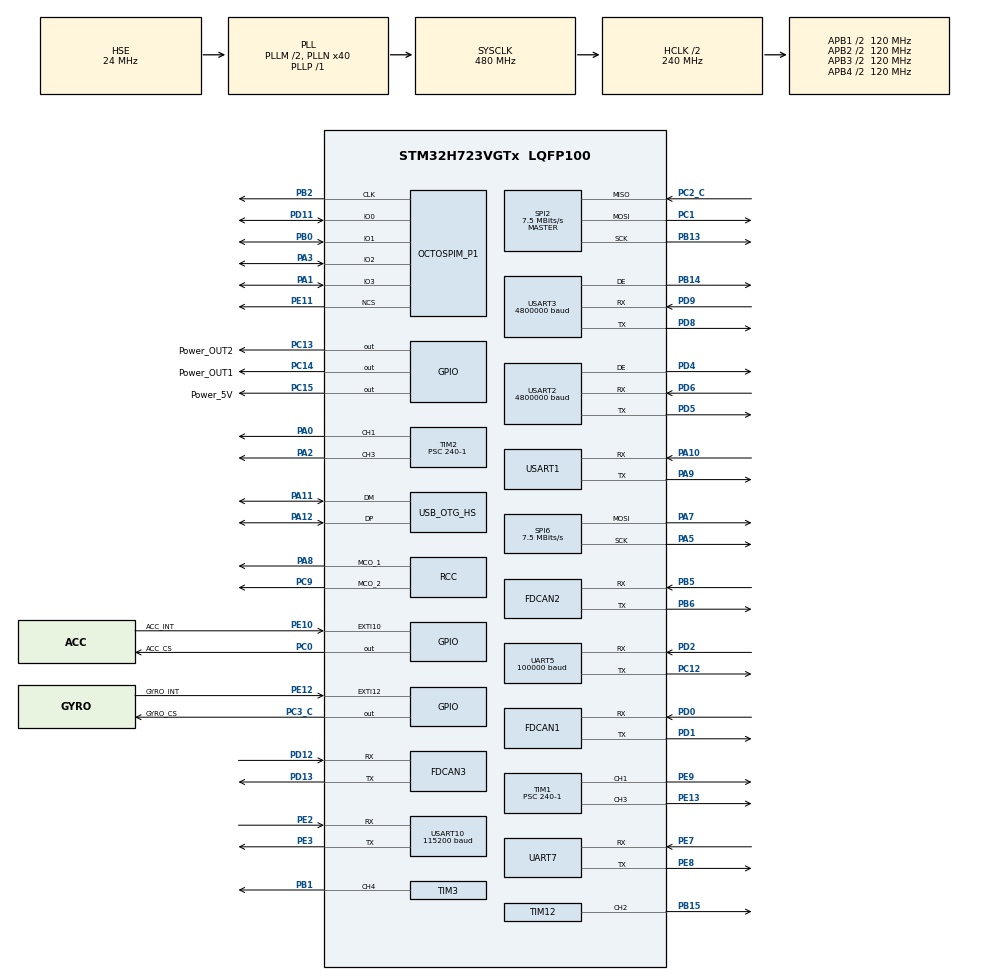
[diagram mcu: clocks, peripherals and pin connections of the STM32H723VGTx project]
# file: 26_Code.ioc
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CORTEX_M7.AccessPermission-Cortex_Memory_Protection_Unit_Region0_Settings=MPU_REGION_PRIV_RO
CORTEX_M7.AccessPermission-Cortex_Memory_Protection_Unit_Region1_Settings=MPU_REGION_FULL_ACCESS
CORTEX_M7.BaseAddress-Cortex_Memory_Protection_Unit_Region0_Settings=0x08000000
CORTEX_M7.BaseAddress-Cortex_Memory_Protection_Unit_Region1_Settings=0x20000000
CORTEX_M7.Enable-Cortex_Memory_Protection_Unit_Region0_Settings=MPU_REGION_ENABLE
CORTEX_M7.Enable-Cortex_Memory_Protection_Unit_Region1_Settings=MPU_REGION_ENABLE
CORTEX_M7.IsCacheable-Cortex_Memory_Protection_Unit_Region0_Settings=MPU_ACCESS_CACHEABLE
CORTEX_M7.MPU_Control=MPU_PRIVILEGED_DEFAULT
CORTEX_M7.Number-Cortex_Memory_Protection_Unit_Region1_Settings=MPU_REGION_NUMBER1
CORTEX_M7.Number-Cortex_Memory_Protection_Unit_Region2_Settings=MPU_REGION_NUMBER2
CORTEX_M7.Number-Cortex_Memory_Protection_Unit_Region3_Settings=MPU_REGION_NUMBER3
CORTEX_M7.Number-Cortex_Memory_Protection_Unit_Region4_Settings=MPU_REGION_NUMBER4
CORTEX_M7.Size-Cortex_Memory_Protection_Unit_Region0_Settings=MPU_REGION_SIZE_1MB
CORTEX_M7.Size-Cortex_Memory_Protection_Unit_Region1_Settings=MPU_REGION_SIZE_128MB
CORTEX_M7.SubRegionDisable-Cortex_Memory_Protection_Unit_Region1_Settings=0xEE
CORTEX_M7.TypeExtField-Cortex_Memory_Protection_Unit_Region0_Settings=MPU_TEX_LEVEL1
CORTEX_M7.TypeExtField-Cortex_Memory_Protection_Unit_Region1_Settings=MPU_TEX_LEVEL1
Dma.Request0=SPI2_RX
Dma.Request1=SPI2_TX
Dma.Request10=USART2_TX
Dma.Request11=USART1_RX
Dma.Request12=USART1_TX
Dma.Request2=UART5_RX
Dma.Request3=UART7_RX
Dma.Request4=UART7_TX
Dma.Request5=USART10_RX
Dma.Request6=USART10_TX
Dma.Request7=USART3_RX
Dma.Request8=USART3_TX
Dma.Request9=USART2_RX
Dma.SPI2_RX.0.Direction=DMA_PERIPH_TO_MEMORY
Dma.SPI2_RX.0.EventEnable=DISABLE
Dma.SPI2_RX.0.FIFOMode=DMA_FIFOMODE_DISABLE
Dma.SPI2_RX.0.Instance=DMA1_Stream0
Dma.SPI2_RX.0.MemDataAlignment=DMA_MDATAALIGN_BYTE
Dma.SPI2_RX.0.MemInc=DMA_MINC_ENABLE
Dma.SPI2_RX.0.Mode=DMA_NORMAL
Dma.SPI2_RX.0.PeriphDataAlignment=DMA_PDATAALIGN_BYTE
Dma.SPI2_RX.0.PeriphInc=DMA_PINC_DISABLE
Dma.SPI2_RX.0.Polarity=HAL_DMAMUX_REQ_GEN_RISING
Dma.SPI2_RX.0.Priority=DMA_PRIORITY_VERY_HIGH
Dma.SPI2_RX.0.RequestNumber=1
Dma.SPI2_RX.0.SignalID=NONE
Dma.SPI2_RX.0.SyncEnable=DISABLE
Dma.SPI2_RX.0.SyncPolarity=HAL_DMAMUX_SYNC_NO_EVENT
Dma.SPI2_RX.0.SyncRequestNumber=1
Dma.SPI2_RX.0.SyncSignalID=NONE
Dma.SPI2_TX.1.Direction=DMA_MEMORY_TO_PERIPH
Dma.SPI2_TX.1.EventEnable=DISABLE
Dma.SPI2_TX.1.FIFOMode=DMA_FIFOMODE_DISABLE
Dma.SPI2_TX.1.Instance=DMA1_Stream1
Dma.SPI2_TX.1.MemDataAlignment=DMA_MDATAALIGN_BYTE
Dma.SPI2_TX.1.MemInc=DMA_MINC_ENABLE
Dma.SPI2_TX.1.Mode=DMA_NORMAL
Dma.SPI2_TX.1.PeriphDataAlignment=DMA_PDATAALIGN_BYTE
Dma.SPI2_TX.1.PeriphInc=DMA_PINC_DISABLE
Dma.SPI2_TX.1.Polarity=HAL_DMAMUX_REQ_GEN_RISING
Dma.SPI2_TX.1.Priority=DMA_PRIORITY_VERY_HIGH
Dma.SPI2_TX.1.RequestNumber=1
Dma.SPI2_TX.1.SignalID=NONE
Dma.SPI2_TX.1.SyncEnable=DISABLE
Dma.SPI2_TX.1.SyncPolarity=HAL_DMAMUX_SYNC_NO_EVENT
Dma.SPI2_TX.1.SyncRequestNumber=1
Dma.SPI2_TX.1.SyncSignalID=NONE
Dma.UART5_RX.2.Direction=DMA_PERIPH_TO_MEMORY
Dma.UART5_RX.2.EventEnable=DISABLE
Dma.UART5_RX.2.FIFOMode=DMA_FIFOMODE_DISABLE
Dma.UART5_RX.2.Instance=DMA1_Stream2
Dma.UART5_RX.2.MemDataAlignment=DMA_MDATAALIGN_BYTE
Dma.UART5_RX.2.MemInc=DMA_MINC_ENABLE
Dma.UART5_RX.2.Mode=DMA_NORMAL
Dma.UART5_RX.2.PeriphDataAlignment=DMA_PDATAALIGN_BYTE
Dma.UART5_RX.2.PeriphInc=DMA_PINC_DISABLE
Dma.UART5_RX.2.Polarity=HAL_DMAMUX_REQ_GEN_RISING
Dma.UART5_RX.2.Priority=DMA_PRIORITY_VERY_HIGH
Dma.UART5_RX.2.RequestNumber=1
Dma.UART5_RX.2.SignalID=NONE
Dma.UART5_RX.2.SyncEnable=DISABLE
Dma.UART5_RX.2.SyncPolarity=HAL_DMAMUX_SYNC_NO_EVENT
Dma.UART5_RX.2.SyncRequestNumber=1
Dma.UART5_RX.2.SyncSignalID=NONE
Dma.UART7_RX.3.Direction=DMA_PERIPH_TO_MEMORY
Dma.UART7_RX.3.EventEnable=DISABLE
Dma.UART7_RX.3.FIFOMode=DMA_FIFOMODE_DISABLE
Dma.UART7_RX.3.Instance=DMA1_Stream3
Dma.UART7_RX.3.MemDataAlignment=DMA_MDATAALIGN_BYTE
Dma.UART7_RX.3.MemInc=DMA_MINC_ENABLE
Dma.UART7_RX.3.Mode=DMA_NORMAL
Dma.UART7_RX.3.PeriphDataAlignment=DMA_PDATAALIGN_BYTE
Dma.UART7_RX.3.PeriphInc=DMA_PINC_DISABLE
Dma.UART7_RX.3.Polarity=HAL_DMAMUX_REQ_GEN_RISING
Dma.UART7_RX.3.Priority=DMA_PRIORITY_VERY_HIGH
Dma.UART7_RX.3.RequestNumber=1
Dma.UART7_RX.3.SignalID=NONE
Dma.UART7_RX.3.SyncEnable=DISABLE
Dma.UART7_RX.3.SyncPolarity=HAL_DMAMUX_SYNC_NO_EVENT
Dma.UART7_RX.3.SyncRequestNumber=1
Dma.UART7_RX.3.SyncSignalID=NONE
Dma.UART7_TX.4.Direction=DMA_MEMORY_TO_PERIPH
Dma.UART7_TX.4.EventEnable=DISABLE
Dma.UART7_TX.4.FIFOMode=DMA_FIFOMODE_DISABLE
Dma.UART7_TX.4.Instance=DMA1_Stream4
Dma.UART7_TX.4.MemDataAlignment=DMA_MDATAALIGN_BYTE
Dma.UART7_TX.4.MemInc=DMA_MINC_ENABLE
Dma.UART7_TX.4.Mode=DMA_NORMAL
Dma.UART7_TX.4.PeriphDataAlignment=DMA_PDATAALIGN_BYTE
Dma.UART7_TX.4.PeriphInc=DMA_PINC_DISABLE
Dma.UART7_TX.4.Polarity=HAL_DMAMUX_REQ_GEN_RISING
Dma.UART7_TX.4.Priority=DMA_PRIORITY_VERY_HIGH
Dma.UART7_TX.4.RequestNumber=1
Dma.UART7_TX.4.SignalID=NONE
Dma.UART7_TX.4.SyncEnable=DISABLE
Dma.UART7_TX.4.SyncPolarity=HAL_DMAMUX_SYNC_NO_EVENT
Dma.UART7_TX.4.SyncRequestNumber=1
Dma.UART7_TX.4.SyncSignalID=NONE
Dma.USART10_RX.5.Direction=DMA_PERIPH_TO_MEMORY
Dma.USART10_RX.5.EventEnable=DISABLE
Dma.USART10_RX.5.FIFOMode=DMA_FIFOMODE_DISABLE
Dma.USART10_RX.5.Instance=DMA1_Stream5
Dma.USART10_RX.5.MemDataAlignment=DMA_MDATAALIGN_BYTE
Dma.USART10_RX.5.MemInc=DMA_MINC_ENABLE
Dma.USART10_RX.5.Mode=DMA_NORMAL
Dma.USART10_RX.5.PeriphDataAlignment=DMA_PDATAALIGN_BYTE
Dma.USART10_RX.5.PeriphInc=DMA_PINC_DISABLE
Dma.USART10_RX.5.Polarity=HAL_DMAMUX_REQ_GEN_RISING
Dma.USART10_RX.5.Priority=DMA_PRIORITY_VERY_HIGH
Dma.USART10_RX.5.RequestNumber=1
Dma.USART10_RX.5.SignalID=NONE
Dma.USART10_RX.5.SyncEnable=DISABLE
Dma.USART10_RX.5.SyncPolarity=HAL_DMAMUX_SYNC_NO_EVENT
Dma.USART10_RX.5.SyncRequestNumber=1
Dma.USART10_RX.5.SyncSignalID=NONE
Dma.USART10_TX.6.Direction=DMA_MEMORY_TO_PERIPH
Dma.USART10_TX.6.EventEnable=DISABLE
Dma.USART10_TX.6.FIFOMode=DMA_FIFOMODE_DISABLE
Dma.USART10_TX.6.Instance=DMA1_Stream6
Dma.USART10_TX.6.MemDataAlignment=DMA_MDATAALIGN_BYTE
Dma.USART10_TX.6.MemInc=DMA_MINC_ENABLE
Dma.USART10_TX.6.Mode=DMA_NORMAL
Dma.USART10_TX.6.PeriphDataAlignment=DMA_PDATAALIGN_BYTE
Dma.USART10_TX.6.PeriphInc=DMA_PINC_DISABLE
Dma.USART10_TX.6.Polarity=HAL_DMAMUX_REQ_GEN_RISING
Dma.USART10_TX.6.Priority=DMA_PRIORITY_VERY_HIGH
Dma.USART10_TX.6.RequestNumber=1
Dma.USART10_TX.6.SignalID=NONE
Dma.USART10_TX.6.SyncEnable=DISABLE
Dma.USART10_TX.6.SyncPolarity=HAL_DMAMUX_SYNC_NO_EVENT
Dma.USART10_TX.6.SyncRequestNumber=1
Dma.USART10_TX.6.SyncSignalID=NONE
Dma.USART1_RX.11.Direction=DMA_PERIPH_TO_MEMORY
Dma.USART1_RX.11.EventEnable=DISABLE
Dma.USART1_RX.11.FIFOMode=DMA_FIFOMODE_DISABLE
Dma.USART1_RX.11.Instance=DMA2_Stream3
Dma.USART1_RX.11.MemDataAlignment=DMA_MDATAALIGN_BYTE
Dma.USART1_RX.11.MemInc=DMA_MINC_ENABLE
Dma.USART1_RX.11.Mode=DMA_NORMAL
Dma.USART1_RX.11.PeriphDataAlignment=DMA_PDATAALIGN_BYTE
Dma.USART1_RX.11.PeriphInc=DMA_PINC_DISABLE
Dma.USART1_RX.11.Polarity=HAL_DMAMUX_REQ_GEN_RISING
Dma.USART1_RX.11.Priority=DMA_PRIORITY_LOW
Dma.USART1_RX.11.RequestNumber=1
Dma.USART1_RX.11.SignalID=NONE
Dma.USART1_RX.11.SyncEnable=DISABLE
Dma.USART1_RX.11.SyncPolarity=HAL_DMAMUX_SYNC_NO_EVENT
Dma.USART1_RX.11.SyncRequestNumber=1
Dma.USART1_RX.11.SyncSignalID=NONE
Dma.USART1_TX.12.Direction=DMA_MEMORY_TO_PERIPH
Dma.USART1_TX.12.EventEnable=DISABLE
Dma.USART1_TX.12.FIFOMode=DMA_FIFOMODE_DISABLE
Dma.USART1_TX.12.Instance=DMA2_Stream4
Dma.USART1_TX.12.MemDataAlignment=DMA_MDATAALIGN_BYTE
Dma.USART1_TX.12.MemInc=DMA_MINC_ENABLE
Dma.USART1_TX.12.Mode=DMA_NORMAL
Dma.USART1_TX.12.PeriphDataAlignment=DMA_PDATAALIGN_BYTE
Dma.USART1_TX.12.PeriphInc=DMA_PINC_DISABLE
Dma.USART1_TX.12.Polarity=HAL_DMAMUX_REQ_GEN_RISING
Dma.USART1_TX.12.Priority=DMA_PRIORITY_LOW
Dma.USART1_TX.12.RequestNumber=1
Dma.USART1_TX.12.SignalID=NONE
Dma.USART1_TX.12.SyncEnable=DISABLE
Dma.USART1_TX.12.SyncPolarity=HAL_DMAMUX_SYNC_NO_EVENT
Dma.USART1_TX.12.SyncRequestNumber=1
Dma.USART1_TX.12.SyncSignalID=NONE
Dma.USART2_RX.9.Direction=DMA_PERIPH_TO_MEMORY
Dma.USART2_RX.9.EventEnable=DISABLE
Dma.USART2_RX.9.FIFOMode=DMA_FIFOMODE_DISABLE
Dma.USART2_RX.9.Instance=DMA2_Stream1
Dma.USART2_RX.9.MemDataAlignment=DMA_MDATAALIGN_BYTE
Dma.USART2_RX.9.MemInc=DMA_MINC_ENABLE
Dma.USART2_RX.9.Mode=DMA_NORMAL
Dma.USART2_RX.9.PeriphDataAlignment=DMA_PDATAALIGN_BYTE
Dma.USART2_RX.9.PeriphInc=DMA_PINC_DISABLE
Dma.USART2_RX.9.Polarity=HAL_DMAMUX_REQ_GEN_RISING
Dma.USART2_RX.9.Priority=DMA_PRIORITY_VERY_HIGH
Dma.USART2_RX.9.RequestNumber=1
Dma.USART2_RX.9.SignalID=NONE
Dma.USART2_RX.9.SyncEnable=DISABLE
Dma.USART2_RX.9.SyncPolarity=HAL_DMAMUX_SYNC_NO_EVENT
Dma.USART2_RX.9.SyncRequestNumber=1
Dma.USART2_RX.9.SyncSignalID=NONE
Dma.USART2_TX.10.Direction=DMA_MEMORY_TO_PERIPH
Dma.USART2_TX.10.EventEnable=DISABLE
Dma.USART2_TX.10.FIFOMode=DMA_FIFOMODE_DISABLE
Dma.USART2_TX.10.Instance=DMA2_Stream2
Dma.USART2_TX.10.MemDataAlignment=DMA_MDATAALIGN_BYTE
Dma.USART2_TX.10.MemInc=DMA_MINC_ENABLE
Dma.USART2_TX.10.Mode=DMA_NORMAL
Dma.USART2_TX.10.PeriphDataAlignment=DMA_PDATAALIGN_BYTE
Dma.USART2_TX.10.PeriphInc=DMA_PINC_DISABLE
Dma.USART2_TX.10.Polarity=HAL_DMAMUX_REQ_GEN_RISING
Dma.USART2_TX.10.Priority=DMA_PRIORITY_VERY_HIGH
Dma.USART2_TX.10.RequestNumber=1
Dma.USART2_TX.10.SignalID=NONE
Dma.USART2_TX.10.SyncEnable=DISABLE
Dma.USART2_TX.10.SyncPolarity=HAL_DMAMUX_SYNC_NO_EVENT
Dma.USART2_TX.10.SyncRequestNumber=1
Dma.USART2_TX.10.SyncSignalID=NONE
Dma.USART3_RX.7.Direction=DMA_PERIPH_TO_MEMORY
Dma.USART3_RX.7.EventEnable=DISABLE
Dma.USART3_RX.7.FIFOMode=DMA_FIFOMODE_DISABLE
Dma.USART3_RX.7.Instance=DMA1_Stream7
Dma.USART3_RX.7.MemDataAlignment=DMA_MDATAALIGN_BYTE
Dma.USART3_RX.7.MemInc=DMA_MINC_ENABLE
Dma.USART3_RX.7.Mode=DMA_NORMAL
Dma.USART3_RX.7.PeriphDataAlignment=DMA_PDATAALIGN_BYTE
Dma.USART3_RX.7.PeriphInc=DMA_PINC_DISABLE
Dma.USART3_RX.7.Polarity=HAL_DMAMUX_REQ_GEN_RISING
Dma.USART3_RX.7.Priority=DMA_PRIORITY_VERY_HIGH
Dma.USART3_RX.7.RequestNumber=1
Dma.USART3_RX.7.SignalID=NONE
Dma.USART3_RX.7.SyncEnable=DISABLE
Dma.USART3_RX.7.SyncPolarity=HAL_DMAMUX_SYNC_NO_EVENT
Dma.USART3_RX.7.SyncRequestNumber=1
Dma.USART3_RX.7.SyncSignalID=NONE
Dma.USART3_TX.8.Direction=DMA_MEMORY_TO_PERIPH
Dma.USART3_TX.8.EventEnable=DISABLE
Dma.USART3_TX.8.FIFOMode=DMA_FIFOMODE_DISABLE
Dma.USART3_TX.8.Instance=DMA2_Stream0
Dma.USART3_TX.8.MemDataAlignment=DMA_MDATAALIGN_BYTE
Dma.USART3_TX.8.MemInc=DMA_MINC_ENABLE
Dma.USART3_TX.8.Mode=DMA_NORMAL
Dma.USART3_TX.8.PeriphDataAlignment=DMA_PDATAALIGN_BYTE
Dma.USART3_TX.8.PeriphInc=DMA_PINC_DISABLE
Dma.USART3_TX.8.Polarity=HAL_DMAMUX_REQ_GEN_RISING
Dma.USART3_TX.8.Priority=DMA_PRIORITY_VERY_HIGH
Dma.USART3_TX.8.RequestNumber=1
Dma.USART3_TX.8.SignalID=NONE
Dma.USART3_TX.8.SyncEnable=DISABLE
Dma.USART3_TX.8.SyncPolarity=HAL_DMAMUX_SYNC_NO_EVENT
Dma.USART3_TX.8.SyncRequestNumber=1
Dma.USART3_TX.8.SyncSignalID=NONE
FDCAN1.AutoRetransmission=DISABLE
FDCAN1.CalculateBaudRateNominal=1000000
FDCAN1.CalculateTimeBitNominal=1000
FDCAN1.CalculateTimeQuantumNominal=25.0
FDCAN1.DataPrescaler=3
FDCAN1.DataSyncJumpWidth=10
FDCAN1.DataTimeSeg1=29
FDCAN1.DataTimeSeg2=10
FDCAN1.NominalPrescaler=3
FDCAN1.NominalSyncJumpWidth=10
FDCAN1.NominalTimeSeg1=29
FDCAN1.NominalTimeSeg2=10
FDCAN1.RxFifo0ElmtsNbr=4
FDCAN1.StdFiltersNbr=1
FDCAN1.TxFifoQueueElmtsNbr=32
FDCAN2.AutoRetransmission=DISABLE
FDCAN2.CalculateBaudRateNominal=1000000
FDCAN2.CalculateTimeBitNominal=1000
FDCAN2.CalculateTimeQuantumNominal=25.0
FDCAN2.DataPrescaler=3
FDCAN2.DataSyncJumpWidth=10
FDCAN2.DataTimeSeg1=29
FDCAN2.DataTimeSeg2=10
FDCAN2.MessageRAMOffset=0x406
FDCAN2.NominalPrescaler=3
FDCAN2.NominalSyncJumpWidth=10
FDCAN2.NominalTimeSeg1=29
FDCAN2.NominalTimeSeg2=10
FDCAN2.RxFifo0ElmtsNbr=4
FDCAN2.StdFiltersNbr=1
FDCAN2.TxFifoQueueElmtsNbr=32
FDCAN3.AutoRetransmission=DISABLE
FDCAN3.CalculateBaudRateNominal=1000000
FDCAN3.CalculateTimeBitNominal=1000
FDCAN3.CalculateTimeQuantumNominal=25.0
FDCAN3.DataPrescaler=3
FDCAN3.DataSyncJumpWidth=10
FDCAN3.DataTimeSeg1=29
FDCAN3.DataTimeSeg2=10
FDCAN3.MessageRAMOffset=0x812
FDCAN3.NominalPrescaler=3
FDCAN3.NominalSyncJumpWidth=10
FDCAN3.NominalTimeSeg1=29
FDCAN3.NominalTimeSeg2=10
FDCAN3.RxFifo0ElmtsNbr=4
FDCAN3.StdFiltersNbr=1
FDCAN3.TxFifoQueueElmtsNbr=32
FREERTOS.Tasks01=Remote_control,24,512,Remote_control_Task,Default,NULL,Dynamic,NULL,NULL;Gimbal,8,512,Gimbal_Task,Default,NULL,Dynamic,NULL,NULL;Chassis,8,1024,Chassis_Task,Default,NULL,Dynamic,NULL,NULL;Motor_control,8,256,Motor_control_Task,Default,NULL,Dynamic,NULL,NULL;Shoot,8,256,Shoot_Task,Default,NULL,Dynamic,NULL,NULL;Referee,8,512,Referee_Task,Default,NULL,Dynamic,NULL,NULL;Log_and_debug,8,256,Log_and_debug_Task,Default,NULL,Dynamic,NULL,NULL
FREERTOS.configENABLE_FPU=1
FREERTOS.configUSE_IDLE_HOOK=1
Mcu.Family=STM32H7
Mcu.Name=STM32H723VGTx
Mcu.Package=LQFP100
NVIC.DMA1_Stream0_IRQn=true\:5\:0\:false\:false\:true\:true\:false\:true\:true
NVIC.DMA1_Stream1_IRQn=true\:5\:0\:false\:false\:true\:true\:false\:true\:true
NVIC.DMA1_Stream2_IRQn=true\:5\:0\:false\:false\:true\:true\:false\:true\:true
NVIC.DMA1_Stream3_IRQn=true\:5\:0\:true\:false\:true\:true\:false\:true\:true
NVIC.DMA1_Stream4_IRQn=true\:5\:0\:true\:false\:true\:true\:false\:true\:true
NVIC.DMA1_Stream5_IRQn=true\:5\:0\:false\:false\:true\:true\:false\:true\:true
NVIC.DMA1_Stream6_IRQn=true\:5\:0\:false\:false\:true\:true\:false\:true\:true
NVIC.DMA1_Stream7_IRQn=true\:5\:0\:false\:false\:true\:true\:false\:true\:true
NVIC.DMA2_Stream0_IRQn=true\:5\:0\:false\:false\:true\:true\:false\:true\:true
NVIC.DMA2_Stream1_IRQn=true\:5\:0\:false\:false\:true\:true\:false\:true\:true
NVIC.DMA2_Stream2_IRQn=true\:5\:0\:false\:false\:true\:true\:false\:true\:true
NVIC.DMA2_Stream3_IRQn=true\:5\:0\:false\:false\:true\:true\:false\:true\:true
NVIC.DMA2_Stream4_IRQn=true\:5\:0\:false\:false\:true\:true\:false\:true\:true
NVIC.FDCAN1_IT0_IRQn=true\:5\:0\:false\:false\:true\:true\:true\:true\:true
NVIC.FDCAN1_IT1_IRQn=true\:5\:0\:false\:false\:true\:true\:true\:true\:true
NVIC.FDCAN2_IT0_IRQn=true\:5\:0\:false\:false\:true\:true\:true\:true\:true
NVIC.FDCAN2_IT1_IRQn=true\:5\:0\:false\:false\:true\:true\:true\:true\:true
NVIC.FDCAN3_IT0_IRQn=true\:5\:0\:false\:false\:true\:true\:true\:true\:true
NVIC.FDCAN3_IT1_IRQn=true\:5\:0\:false\:false\:true\:true\:true\:true\:true
NVIC.OTG_HS_IRQn=true\:5\:0\:false\:false\:true\:true\:true\:true\:true
NVIC.PriorityGroup=NVIC_PRIORITYGROUP_4
NVIC.SPI2_IRQn=true\:5\:0\:false\:false\:true\:true\:true\:true\:true
NVIC.TIM23_IRQn=true\:15\:0\:true\:false\:true\:false\:false\:true\:true
NVIC.TIM8_BRK_TIM12_IRQn=true\:5\:0\:false\:false\:true\:true\:true\:true\:true
NVIC.TIM8_TRG_COM_TIM14_IRQn=true\:5\:0\:false\:false\:true\:true\:true\:true\:true
NVIC.TIM8_UP_TIM13_IRQn=true\:5\:0\:true\:false\:true\:true\:true\:true\:true
NVIC.TimeBase=TIM23_IRQn
NVIC.TimeBaseIP=TIM23
NVIC.UART5_IRQn=true\:5\:0\:false\:false\:true\:true\:true\:true\:true
NVIC.UART7_IRQn=true\:5\:0\:true\:false\:true\:true\:true\:true\:true
NVIC.USART10_IRQn=true\:5\:0\:false\:false\:true\:true\:true\:true\:true
NVIC.USART1_IRQn=true\:5\:0\:false\:false\:true\:true\:true\:true\:true
NVIC.USART2_IRQn=true\:5\:0\:false\:false\:true\:true\:true\:true\:true
NVIC.USART3_IRQn=true\:5\:0\:false\:false\:true\:true\:true\:true\:true
OCTOSPI2.ClockMode=HAL_OSPI_CLOCK_MODE_3
OCTOSPI2.ClockPrescaler=3
OCTOSPI2.DeviceSize=23
OCTOSPI2.DeviceType=SPI_DEVICE_FLASH
OCTOSPI2.FifoThreshold=8
OCTOSPI2.SampleShifting=HAL_OSPI_SAMPLE_SHIFTING_HALFCYCLE
PA0.Signal=S_TIM2_CH1_ETR
PA1.Mode=OCTOSPI2_IOL_Port1L
PA1.Signal=OCTOSPIM_P1_IO3
PA10.Mode=Asynchronous
PA10.Signal=USART1_RX
PA11.Mode=Device_Only_FS
PA11.Signal=USB_OTG_HS_DM
PA12.Mode=Device_Only_FS
PA12.Signal=USB_OTG_HS_DP
PA13(JTMS/SWDIO).Mode=Serial_Wire
PA13(JTMS/SWDIO).Signal=DEBUG_JTMS-SWDIO
PA14(JTCK/SWCLK).Mode=Serial_Wire
PA14(JTCK/SWCLK).Signal=DEBUG_JTCK-SWCLK
PA2.Signal=S_TIM2_CH3
PA3.Mode=OCTOSPI2_IOL_Port1L
PA3.Signal=OCTOSPIM_P1_IO2
PA5.GPIO_Speed=GPIO_SPEED_FREQ_VERY_HIGH
PA5.Mode=TX_Only_Simplex_Unidirect_Master
PA5.Signal=SPI6_SCK
PA7.Mode=TX_Only_Simplex_Unidirect_Master
PA7.Signal=SPI6_MOSI
PA8.Mode=Clock-out-1
PA8.Signal=RCC_MCO_1
PA9.Mode=Asynchronous
PA9.Signal=USART1_TX
PB0.Mode=OCTOSPI2_IOL_Port1L
PB0.Signal=OCTOSPIM_P1_IO1
PB1.Signal=S_TIM3_CH4
PB13.Mode=Full_Duplex_Master
PB13.Signal=SPI2_SCK
PB14.Mode=Hardware Flow Control (RS485)
PB14.Signal=USART3_DE
PB15.Signal=S_TIM12_CH2
PB2.Mode=O2_P1_CLK
PB2.Signal=OCTOSPIM_P1_CLK
PB5.Mode=FDCAN_Activate
PB5.Signal=FDCAN2_RX
PB6.Mode=FDCAN_Activate
PB6.Signal=FDCAN2_TX
PC0.GPIO_Label=ACC_CS
PC0.GPIO_Speed=GPIO_SPEED_FREQ_VERY_HIGH
PC0.PinState=GPIO_PIN_SET
PC0.Signal=GPIO_Output
PC1.Mode=Full_Duplex_Master
PC1.Signal=SPI2_MOSI
PC12.Mode=Asynchronous
PC12.Signal=UART5_TX
PC13.GPIO_Label=Power_OUT2
PC13.PinState=GPIO_PIN_SET
PC13.Signal=GPIO_Output
PC14-OSC32_IN.GPIO_Label=Power_OUT1
PC14-OSC32_IN.PinState=GPIO_PIN_SET
PC14-OSC32_IN.Signal=GPIO_Output
PC15-OSC32_OUT.GPIO_Label=Power_5V
PC15-OSC32_OUT.Signal=GPIO_Output
PC2_C.Mode=Full_Duplex_Master
PC2_C.Signal=SPI2_MISO
PC3_C.GPIO_Label=GYRO_CS
PC3_C.GPIO_Speed=GPIO_SPEED_FREQ_VERY_HIGH
PC3_C.PinState=GPIO_PIN_SET
PC3_C.Signal=GPIO_Output
PC9.Mode=Clock-out-2
PC9.Signal=RCC_MCO_2
PD0.Mode=FDCAN_Activate
PD0.Signal=FDCAN1_RX
PD1.Mode=FDCAN_Activate
PD1.Signal=FDCAN1_TX
PD11.Mode=OCTOSPI2_IOL_Port1L
PD11.Signal=OCTOSPIM_P1_IO0
PD12.Mode=FDCAN_Activate
PD12.Signal=FDCAN3_RX
PD13.Mode=FDCAN_Activate
PD13.Signal=FDCAN3_TX
PD2.Mode=Asynchronous
PD2.Signal=UART5_RX
PD4.Mode=Hardware Flow Control (RS485)
PD4.Signal=USART2_DE
PD5.Mode=Asynchronous
PD5.Signal=USART2_TX
PD6.Mode=Asynchronous
PD6.Signal=USART2_RX
PD8.Mode=Asynchronous
PD8.Signal=USART3_TX
PD9.Mode=Asynchronous
PD9.Signal=USART3_RX
PE10.GPIO_Label=ACC_INT
PE10.Signal=GPXTI10
PE11.Mode=OCTOSPI2_Port1_NCS
PE11.Signal=OCTOSPIM_P1_NCS
PE12.GPIO_Label=GYRO_INT
PE12.Signal=GPXTI12
PE13.Signal=S_TIM1_CH3
PE2.GPIO_Speed=GPIO_SPEED_FREQ_VERY_HIGH
PE2.Mode=Asynchronous
PE2.Signal=USART10_RX
PE3.GPIO_Speed=GPIO_SPEED_FREQ_VERY_HIGH
PE3.Mode=Asynchronous
PE3.Signal=USART10_TX
PE7.GPIO_Speed=GPIO_SPEED_FREQ_VERY_HIGH
PE7.Mode=Asynchronous
PE7.Signal=UART7_RX
PE8.GPIO_Speed=GPIO_SPEED_FREQ_VERY_HIGH
PE8.Mode=Asynchronous
PE8.Signal=UART7_TX
PE9.Signal=S_TIM1_CH1
PH0-OSC_IN.Mode=HSE-External-Oscillator
PH0-OSC_IN.Signal=RCC_OSC_IN
PH1-OSC_OUT.Mode=HSE-External-Oscillator
PH1-OSC_OUT.Signal=RCC_OSC_OUT
ProjectManager.HeapSize=0x200
ProjectManager.StackSize=0x400
ProjectManager.TargetToolchain=Makefile
RCC.ADCFreq_Value=48375000
RCC.APB1Freq_Value=120000000
RCC.APB2Freq_Value=120000000
RCC.APB3Freq_Value=120000000
RCC.APB4Freq_Value=120000000
RCC.CortexFreq_Value=480000000
RCC.D1PPRE=RCC_APB3_DIV2
RCC.D2PPRE1=RCC_APB1_DIV2
RCC.D2PPRE2=RCC_APB2_DIV2
RCC.D3PPRE=RCC_APB4_DIV2
RCC.DIVM1=2
RCC.DIVN1=40
RCC.DIVP1=1
RCC.DIVQ1=4
RCC.HCLKFreq_Value=240000000
RCC.HPRE=RCC_HCLK_DIV2
RCC.HSE_VALUE=24000000
RCC.PLLFRACN=0
RCC.PLLSourceVirtual=RCC_PLLSOURCE_HSE
RCC.SYSCLKFreq_VALUE=480000000
RCC.SYSCLKSource=RCC_SYSCLKSOURCE_PLLCLK
RCC.USBCLockSelection=RCC_USBCLKSOURCE_HSI48
RCC.USBFreq_Value=48000000
SH.S_TIM12_CH2.0=TIM12_CH2,PWM Generation2 CH2
SH.S_TIM1_CH1.0=TIM1_CH1,PWM Generation1 CH1
SH.S_TIM1_CH3.0=TIM1_CH3,PWM Generation3 CH3
SH.S_TIM2_CH1_ETR.0=TIM2_CH1,PWM Generation1 CH1
SH.S_TIM2_CH3.0=TIM2_CH3,PWM Generation3 CH3
SH.S_TIM3_CH4.0=TIM3_CH4,PWM Generation4 CH4
SPI2.BaudRatePrescaler=SPI_BAUDRATEPRESCALER_16
SPI2.CLKPhase=SPI_PHASE_2EDGE
SPI2.CLKPolarity=SPI_POLARITY_HIGH
SPI2.CalculateBaudRate=7.5 MBits/s
SPI2.DataSize=SPI_DATASIZE_8BIT
SPI2.Direction=SPI_DIRECTION_2LINES
SPI2.Mode=SPI_MODE_MASTER
SPI2.VirtualType=VM_MASTER
SPI6.BaudRatePrescaler=SPI_BAUDRATEPRESCALER_16
SPI6.CLKPhase=SPI_PHASE_2EDGE
SPI6.CLKPolarity=SPI_POLARITY_HIGH
SPI6.CalculateBaudRate=7.5 MBits/s
SPI6.DataSize=SPI_DATASIZE_8BIT
SPI6.Direction=SPI_DIRECTION_2LINES_TXONLY
SPI6.Mode=SPI_MODE_MASTER
SPI6.VirtualType=VM_MASTER
TIM1.Channel-PWM\ Generation1\ CH1=TIM_CHANNEL_1
TIM1.Channel-PWM\ Generation3\ CH3=TIM_CHANNEL_3
TIM1.Period=2000-1
TIM1.Prescaler=240-1
TIM12.Channel-PWM\ Generation2\ CH2=TIM_CHANNEL_2
TIM12.Period=250-1
TIM12.Prescaler=240-1
TIM13.Period=100-1
TIM13.Prescaler=2400-1
TIM14.Period=500-1
TIM14.Prescaler=2400-1
TIM2.Channel-PWM\ Generation1\ CH1=TIM_CHANNEL_1
TIM2.Channel-PWM\ Generation3\ CH3=TIM_CHANNEL_3
TIM2.Period=2000-1
TIM2.Prescaler=240-1
TIM3.Channel-PWM\ Generation4\ CH4=TIM_CHANNEL_4
TIM3.Period=20000-1
TIM3.Prescaler=240-1
UART5.BaudRate=100000
UART5.Parity=PARITY_EVEN
UART5.StopBits=UART_STOPBITS_1
UART5.WordLength=WORDLENGTH_9B
USART1.VirtualMode-Asynchronous=VM_ASYNC
USART10.BaudRate=115200
USART10.VirtualMode=VM_ASYNC
USART2.BaudRate=4800000
USART2.VirtualMode-Asynchronous=VM_ASYNC
USART2.VirtualMode-Hardware\ Flow\ Control\ (RS485)=VM_ASYNC
USART3.BaudRate=4800000
USART3.VirtualMode-Asynchronous=VM_ASYNC
USART3.VirtualMode-Hardware\ Flow\ Control\ (RS485)=VM_ASYNC
USB_DEVICE.CLASS_NAME_HS=CDC
USB_DEVICE.VirtualMode=Cdc
USB_DEVICE.VirtualModeHS=Cdc_HS
USB_OTG_HS.VirtualMode-Device_Only_FS=Device_Only_FS
VP_FREERTOS_VS_CMSIS_V2.Mode=CMSIS_V2
VP_IWDG1_VS_IWDG.Mode=IWDG_Activate
VP_MEMORYMAP_VS_MEMORYMAP.Mode=CurAppReg
VP_OCTOSPI2_VS_quad.Mode=quad_mode
VP_SYS_VS_tim23.Mode=TIM23
VP_TIM12_VS_ClockSourceINT.Mode=Internal
VP_TIM13_VS_ClockSourceINT.Mode=Enable_Timer
VP_TIM14_VS_ClockSourceINT.Mode=Enable_Timer
VP_USB_DEVICE_VS_USB_DEVICE_CDC_HS.Mode=CDC_HS
board=custom

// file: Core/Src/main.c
/* USER CODE BEGIN Header */
/**
  ******************************************************************************
  * @file           : main.c
  * @brief          : Main program body
  ******************************************************************************
  * @attention
  *
  * Copyright (c) 2025 STMicroelectronics.
  * All rights reserved.
  *
  * This software is licensed under terms that can be found in the LICENSE file
  * in the root directory of this software component.
  * If no LICENSE file comes with this software, it is provided AS-IS.
  *
  ******************************************************************************
  */
/* USER CODE END Header */
#include "main.h"
#include "cmsis_os.h"
#include "dma.h"
#include "fdcan.h"
#include "iwdg.h"
#include "octospi.h"
#include "spi.h"
#include "tim.h"
#include "usart.h"
#include "usb_device.h"
#include "gpio.h"

/* USER CODE BEGIN Includes */
#include "UART_data_txrx.h"
#include "CAN_receive_send.h"

#include "motor.h"
#include "supercup.h"
#include "IMU_updata.h"
#include "dm_imu.h"
#include "LED.h"
#include "Power_switch.h"
#include "referee_system.h"

#include "music.h"
#include "Chassis.h"
#include "Gimbal.h"
#include "shoot.h"
#include "Auto_control.h"
#include "Global_status.h"

/* USER CODE END Includes */

/* USER CODE BEGIN PV */
static uint32_t tick_ms=0;
/* USER CODE END PV */

void SystemClock_Config(void);
static void MPU_Config(void);
void MX_FREERTOS_Init(void);

/* USER CODE BEGIN 0 */
HAL_StatusTypeDef ITsta;
extern DMA_HandleTypeDef hdma_uart7_rx;
/* USER CODE END 0 */

int main(void){

  /* MPU Configuration--------------------------------------------------------*/
  MPU_Config();

  /* MCU Configuration--------------------------------------------------------*/

  /* Reset of all peripherals, Initializes the Flash interface and the Systick. */
  HAL_Init();

  /* Configure the system clock */
  SystemClock_Config();

  /* Initialize all configured peripherals */
  MX_GPIO_Init();
  MX_DMA_Init();
  MX_FDCAN1_Init();
  MX_FDCAN2_Init();
  MX_SPI2_Init();
  MX_TIM3_Init();
  MX_TIM13_Init();
  MX_TIM14_Init();
  MX_SPI6_Init();
  MX_UART5_Init();
  MX_UART7_Init();
  MX_USART10_UART_Init();
  MX_FDCAN3_Init();
  MX_OCTOSPI2_Init();

  MX_USART2_UART_Init();
  MX_USART3_UART_Init();
  MX_USART1_UART_Init();
  MX_TIM12_Init();
  MX_TIM1_Init();
  MX_TIM2_Init();
  /* USER CODE BEGIN 2 */
  HAL_IWDG_Refresh(&hiwdg1);
 /*INIT*/
  uart_init();
  can_init();
  Refree_system_init();
  Buzzer_init();

  IMU_init();
  Music_init();
  // Chassis_init();
  // Gimbal_init();
  // Shoot_init();
  MX_IWDG1_Init();
  HAL_IWDG_Refresh(&hiwdg1);
  HAL_GPIO_WritePin(Power_5V_GPIO_Port, Power_5V_Pin, GPIO_PIN_SET);
  HAL_TIM_Base_Start_IT(&htim14);
  /* USER CODE END 2 */

  /* Init scheduler */
  osKernelInitialize();

  /* Call init function for freertos objects (in cmsis_os2.c) */
  MX_FREERTOS_Init();

  /* Start scheduler */
  osKernelStart();

  /* We should never get here as control is now taken by the scheduler */

  /* Infinite loop */
  while (1)
  {

  }
}

void SystemClock_Config(void)
{
  RCC_OscInitTypeDef RCC_OscInitStruct = {0};
  RCC_ClkInitTypeDef RCC_ClkInitStruct = {0};

  /** Supply configuration update enable
  */
  HAL_PWREx_ConfigSupply(PWR_LDO_SUPPLY);

  /** Configure the main internal regulator output voltage
  */
  __HAL_PWR_VOLTAGESCALING_CONFIG(PWR_REGULATOR_VOLTAGE_SCALE0);

  while(!__HAL_PWR_GET_FLAG(PWR_FLAG_VOSRDY)) {}

  /** Initializes the RCC Oscillators according to the specified parameters
  * in the RCC_OscInitTypeDef structure.
  */
  RCC_OscInitStruct.OscillatorType = RCC_OSCILLATORTYPE_HSI48|RCC_OSCILLATORTYPE_HSI
                              |RCC_OSCILLATORTYPE_LSI|RCC_OSCILLATORTYPE_HSE;
  RCC_OscInitStruct.HSEState = RCC_HSE_ON;
  RCC_OscInitStruct.HSIState = RCC_HSI_DIV1;
  RCC_OscInitStruct.HSICalibrationValue = 64;
  RCC_OscInitStruct.LSIState = RCC_LSI_ON;
  RCC_OscInitStruct.HSI48State = RCC_HSI48_ON;
  RCC_OscInitStruct.PLL.PLLState = RCC_PLL_ON;
  RCC_OscInitStruct.PLL.PLLSource = RCC_PLLSOURCE_HSE;
  RCC_OscInitStruct.PLL.PLLM = 2;
  RCC_OscInitStruct.PLL.PLLN = 40;
  RCC_OscInitStruct.PLL.PLLP = 1;
  RCC_OscInitStruct.PLL.PLLQ = 4;
  RCC_OscInitStruct.PLL.PLLR = 2;
  RCC_OscInitStruct.PLL.PLLRGE = RCC_PLL1VCIRANGE_3;
  RCC_OscInitStruct.PLL.PLLVCOSEL = RCC_PLL1VCOWIDE;
  RCC_OscInitStruct.PLL.PLLFRACN = 0;
  if (HAL_RCC_OscConfig(&RCC_OscInitStruct) != HAL_OK)
  {
    Error_Handler();
  }

  /** Initializes the CPU, AHB and APB buses clocks
  */
  RCC_ClkInitStruct.ClockType = RCC_CLOCKTYPE_HCLK|RCC_CLOCKTYPE_SYSCLK
                              |RCC_CLOCKTYPE_PCLK1|RCC_CLOCKTYPE_PCLK2
                              |RCC_CLOCKTYPE_D3PCLK1|RCC_CLOCKTYPE_D1PCLK1;
  RCC_ClkInitStruct.SYSCLKSource = RCC_SYSCLKSOURCE_PLLCLK;
  RCC_ClkInitStruct.SYSCLKDivider = RCC_SYSCLK_DIV1;
  RCC_ClkInitStruct.AHBCLKDivider = RCC_HCLK_DIV2;
  RCC_ClkInitStruct.APB3CLKDivider = RCC_APB3_DIV2;
  RCC_ClkInitStruct.APB1CLKDivider = RCC_APB1_DIV2;
  RCC_ClkInitStruct.APB2CLKDivider = RCC_APB2_DIV2;
  RCC_ClkInitStruct.APB4CLKDivider = RCC_APB4_DIV2;

  if (HAL_RCC_ClockConfig(&RCC_ClkInitStruct, FLASH_LATENCY_3) != HAL_OK)
  {
    Error_Handler();
  }
  HAL_RCC_MCOConfig(RCC_MCO1, RCC_MCO1SOURCE_HSI, RCC_MCODIV_1);
  HAL_RCC_MCOConfig(RCC_MCO2, RCC_MCO2SOURCE_SYSCLK, RCC_MCODIV_1);
}

 /* MPU Configuration */

void MPU_Config(void)
{
  MPU_Region_InitTypeDef MPU_InitStruct = {0};

  /* Disables the MPU */
  HAL_MPU_Disable();

  /** Initializes and configures the Region and the memory to be protected
  */
  MPU_InitStruct.Enable = MPU_REGION_ENABLE;
  MPU_InitStruct.Number = MPU_REGION_NUMBER0;
  MPU_InitStruct.BaseAddress = 0x08000000;
  MPU_InitStruct.Size = MPU_REGION_SIZE_1MB;
  MPU_InitStruct.SubRegionDisable = 0x0;
  MPU_InitStruct.TypeExtField = MPU_TEX_LEVEL1;
  MPU_InitStruct.AccessPermission = MPU_REGION_PRIV_RO;
  MPU_InitStruct.DisableExec = MPU_INSTRUCTION_ACCESS_ENABLE;
  MPU_InitStruct.IsShareable = MPU_ACCESS_NOT_SHAREABLE;
  MPU_InitStruct.IsCacheable = MPU_ACCESS_CACHEABLE;
  MPU_InitStruct.IsBufferable = MPU_ACCESS_NOT_BUFFERABLE;

  HAL_MPU_ConfigRegion(&MPU_InitStruct);

  /** Initializes and configures the Region and the memory to be protected
  */
  MPU_InitStruct.Number = MPU_REGION_NUMBER1;
  MPU_InitStruct.BaseAddress = 0x20000000;
  MPU_InitStruct.Size = MPU_REGION_SIZE_128MB;
  MPU_InitStruct.SubRegionDisable = 0xEE;
  MPU_InitStruct.AccessPermission = MPU_REGION_FULL_ACCESS;
  MPU_InitStruct.IsCacheable = MPU_ACCESS_NOT_CACHEABLE;

  HAL_MPU_ConfigRegion(&MPU_InitStruct);

  /** Initializes and configures the Region and the memory to be protected
  */
  MPU_InitStruct.Number = MPU_REGION_NUMBER2;
  HAL_MPU_ConfigRegion(&MPU_InitStruct);

  /** Initializes and configures the Region and the memory to be protected
  */
  MPU_InitStruct.Number = MPU_REGION_NUMBER3;
  HAL_MPU_ConfigRegion(&MPU_InitStruct);

  /** Initializes and configures the Region and the memory to be protected
  */
  MPU_InitStruct.Number = MPU_REGION_NUMBER4;
  HAL_MPU_ConfigRegion(&MPU_InitStruct);
  /* Enables the MPU */
  HAL_MPU_Enable(MPU_PRIVILEGED_DEFAULT);

}

void HAL_TIM_PeriodElapsedCallback(TIM_HandleTypeDef *htim)
{
  /* USER CODE BEGIN Callback 0 */
  static int i = 0;
  /* USER CODE END Callback 0 */
  if (htim->Instance == TIM23)
  {
    HAL_IncTick();
  }
  /* USER CODE BEGIN Callback 1 */
  uint8_t history = 4;
  if (htim->Instance == TIM13) // 1000HZ
  {
    tick_ms++;
    if(tick_ms%4==0)
			{
				IMU_RequestData(&hfdcan3,0x01,4);
			}
			else if(tick_ms%3==0)
			{
				IMU_RequestData(&hfdcan3,0x01,3);
			}
			else if(tick_ms%2==0)
			{
				IMU_RequestData(&hfdcan3,0x01,2);
			}
      else if(tick_ms%1==0)
			{
				IMU_RequestData(&hfdcan3,0x01,1);
			}

			if(tick_ms>1000)
				tick_ms=0;
  }
  else if (htim->Instance == TIM14) // 200Hz
  {
    if (i == 0)
    {
      STM32_to_MINIPC(IMU_data_history[history].AHRS.yaw,
                      IMU_data_history[history].AHRS.pitch,
                      cos(IMU_data_history[history].AHRS.pitch) * IMU_data_history[history].gyro[2] - sin(IMU_data_history[history].AHRS.yaw) * IMU_data_history[history].gyro[1]);
      i = 1;
    }
    else
    {
      i = 0;
    }
  }
  /* USER CODE END Callback 1 */
}

void Error_Handler(void)
{
  __disable_irq();
  while (1)
  {
  }
}

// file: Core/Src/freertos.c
/* USER CODE BEGIN Header */
/**
 ******************************************************************************
 * File Name          : freertos.c
 * Description        : Code for freertos applications
 ******************************************************************************
 * @attention
 *
 * Copyright (c) 2025 STMicroelectronics.
 * All rights reserved.
 *
 * This software is licensed under terms that can be found in the LICENSE file
 * in the root directory of this software component.
 * If no LICENSE file comes with this software, it is provided AS-IS.
 *
 ******************************************************************************
 */
/* USER CODE END Header */

#include "FreeRTOS.h"
#include "task.h"
#include "main.h"
#include "cmsis_os.h"

/* USER CODE BEGIN Includes */

#include "remote_control.h"
#include "Chassis.h"
#include "Gimbal.h"
#include "Global_status.h"
#include "Auto_control.h"
#include "shoot.h"
#include "music.h"

#include "referee_system.h"
#include "supercup.h"
#include "LED.h"
#include "DT7.h"
#include "VT13.h"
#include "FSI6X.h"
#include "motor.h"
#include "fei_bao_param.h"
#include "need_h.h"
#include <cmsis_os2.h>
#include "usart.h"
#include "UART_data_txrx.h"
#include "motor_control_task.h"
#include "launch.h"
#include "reload.h"

#include "iwdg.h"
#include "buzzer.h"
/* USER CODE END Includes */

/* USER CODE BEGIN Variables */
uint32_t color = 0;
enum shoot_control shoot_control_mode;
/* USER CODE END Variables */
/* Definitions for Remote_control */
osThreadId_t Remote_controlHandle;
const osThreadAttr_t Remote_control_attributes = {
    .name = "Remote_control",
    .stack_size = 512 * 4,
    .priority = (osPriority_t)osPriorityNormal,
};
/* Definitions for Gimbal */
osThreadId_t GimbalHandle;
const osThreadAttr_t Gimbal_attributes = {
    .name = "Gimbal",
    .stack_size = 512 * 4,
    .priority = (osPriority_t)osPriorityLow,
};
/* Definitions for Chassis */
osThreadId_t ChassisHandle;
const osThreadAttr_t Chassis_attributes = {
    .name = "Chassis",
    .stack_size = 1024 * 4,
    .priority = (osPriority_t)osPriorityLow,
};
/* Definitions for Motor_control */
osThreadId_t Motor_controlHandle;
const osThreadAttr_t Motor_control_attributes = {
    .name = "Motor_control",
    .stack_size = 256 * 4,
    .priority = (osPriority_t)osPriorityLow,
};
/* Definitions for Shoot */
osThreadId_t ShootHandle;
const osThreadAttr_t Shoot_attributes = {
    .name = "Shoot",
    .stack_size = 256 * 4,
    .priority = (osPriority_t)osPriorityLow,
};
/* Definitions for Referee */
osThreadId_t RefereeHandle;
const osThreadAttr_t Referee_attributes = {
    .name = "Referee",
    .stack_size = 512 * 4,
    .priority = (osPriority_t)osPriorityLow,
};
/* Definitions for Log_and_debug */
osThreadId_t Log_and_debugHandle;
const osThreadAttr_t Log_and_debug_attributes = {
    .name = "Log_and_debug",
    .stack_size = 256 * 4,
    .priority = (osPriority_t)osPriorityLow,
};

void Remote_control_Task(void *argument);
void Gimbal_Task(void *argument);
void Chassis_Task(void *argument);
void Motor_control_Task(void *argument);
void Shoot_Task(void *argument);
void Referee_Task(void *argument);
void Log_and_debug_Task(void *argument);

extern void MX_USB_DEVICE_Init(void);
void MX_FREERTOS_Init(void); /* (MISRA C 2004 rule 8.1) */

/* Hook prototypes */
void vApplicationIdleHook(void);

/* USER CODE BEGIN 2 */
void vApplicationIdleHook(void)
{
  /* vApplicationIdleHook() will only be called if configUSE_IDLE_HOOK is set
  to 1 in FreeRTOSConfig.h. It will be called on each iteration of the idle
  task. It is essential that code added to this hook function never attempts
  to block in any way (for example, call xQueueReceive() with a block time
  specified, or call vTaskDelay()). If the application makes use of the
  vTaskDelete() API function (as this demo application does) then it is also
  important that vApplicationIdleHook() is permitted to return to its calling
  function, because it is the responsibility of the idle task to clean up
  memory allocated by the kernel to any task that has since been deleted. */
}
/* USER CODE END 2 */

void MX_FREERTOS_Init(void)
{

  /* Create the thread(s) */
  /* creation of Remote_control */
  Remote_controlHandle = osThreadNew(Remote_control_Task, NULL, &Remote_control_attributes);

  /* creation of Gimbal */
  GimbalHandle = osThreadNew(Gimbal_Task, NULL, &Gimbal_attributes);

  /* creation of Chassis */
  ChassisHandle = osThreadNew(Chassis_Task, NULL, &Chassis_attributes);

  /* creation of Motor_control */
  Motor_controlHandle = osThreadNew(Motor_control_Task, NULL, &Motor_control_attributes);

  /* creation of Shoot */
  ShootHandle = osThreadNew(Shoot_Task, NULL, &Shoot_attributes);

  /* creation of Referee */
  RefereeHandle = osThreadNew(Referee_Task, NULL, &Referee_attributes);

  /* creation of Log_and_debug */
  Log_and_debugHandle = osThreadNew(Log_and_debug_Task, NULL, &Log_and_debug_attributes);

}

void Remote_control_Task(void *argument)
{
  /* init code for USB_DEVICE */
  MX_USB_DEVICE_Init();
  /* USER CODE BEGIN Remote_control_Task */

  /* Infinite loop */
  for (;;)
  {
    // osDelay(1);
    // if (DT7_data.online >= 0)
    //   DT7toRCdata();
    // else if (VT13_data.online >= 0)
    //   VT13toRCdata();
    remote_control_task();
    osDelay(1);
  }
  /* USER CODE END Remote_control_Task */
}

void Gimbal_Task(void *argument)
{
  /* USER CODE BEGIN Gimbal_Task */
  /* Infinite loop */
  for (;;)
  {
    if (RC_data.rc.s[2] == 1807.0f) //右手内侧拨杆向下
    {
      Save_time_allow = YES;
      shoot_control_mode = AUTO_MODE;
      shoot.Sten_left.mode = POSITION;
      shoot.Sten_right.mode = POSITION;
      shoot.Push_dart.mode = POSITION;
      shoot.Trigger.mode = POSITION;
    }
    else //
    {
      Save_time_allow = NO;
      shoot_control_mode = MANUAL_MODE;
      shoot.Sten_left.mode = VELOCITY;
      shoot.Sten_right.mode = VELOCITY;
      shoot.Push_dart.mode = VELOCITY;
      shoot.Yaw_root.mode = VELOCITY;
      shoot.Trigger.mode = POSITION;
      //			time_table= 0;
    }
    osDelay(5);
  }
  /* USER CODE END Gimbal_Task */
}

void Chassis_Task(void *argument)
{
  /* USER CODE BEGIN Chassis_Task */
  /* Infinite loop */

  for (;;)
  {
    test();
    if (shoot_control_mode == MANUAL_MODE)
    {
      set_servo_angle(PWM_PIN_1, 70);

      Manual_mode();
    }
    else if (shoot_control_mode == AUTO_MODE)
    {
      Auto_mode();
    }

    osDelay(1);
  }
  /* USER CODE END Chassis_Task */
}

void Motor_control_Task(void *argument)
{
  /* USER CODE BEGIN Motor_control_Task */
  osDelay(4000);
  PWM_control_init();
  Shoot_init();
  Fei_Bao_motor_init();
  // save_moto_zero();

  /* Infinite loop */
  for (;;)
  {
    motor_control_task();

    //
    if (RC_data.online != -1 && RC_data.rc.s[0] != 240)
    {
      enable_motor_mode(&hfdcan1, STEN_MOTO, SPD_MODE);

    }
    else
    {
      set_CAN2_DJImotor(0, YAW_ROOT); //
      set_CAN2_DJImotor(0, TRIGGER);  //
      DJIMotor_SendCurrent(CAN_20063508_1_4_ID, DJI_CAN_2);
      disable_motor_mode(&hfdcan1, STEN_MOTO, POS_MODE);
    }
    osDelay(1);
  }
  // fdcanx_send_data(&hfdcan1,0x200,can_data,8);

  /* USER CODE END Motor_control_Task */
}

void Shoot_Task(void *argument)
{
  /* USER CODE BEGIN Shoot_Task */
  /* Infinite loop */
  for (;;)
  {
    HAL_IWDG_Refresh(&hiwdg1);
    osDelay(10);
  }
  /* USER CODE END Shoot_Task */
}

void Referee_Task(void *argument)
{
  /* USER CODE BEGIN Referee_Task */

  /* Infinite loop */
  for (;;)
  {
    Referee_unpack_fifo_data(&referee_fifo, &referee_unpack_obj);
    osDelay(1);
  }
  /* USER CODE END Referee_Task */
}

void Log_and_debug_Task(void *argument)
{
  /* USER CODE BEGIN Log_and_debug_Task */

  /* Infinite loop */
  for (;;)
  {
    LEDshowcolor(RED);
    osDelay(500);
    LEDshowcolor(BLUE);
    osDelay(500);
    LEDshowcolor(GREEN);
    osDelay(500);
  }
  /* USER CODE END Log_and_debug_Task */
}
